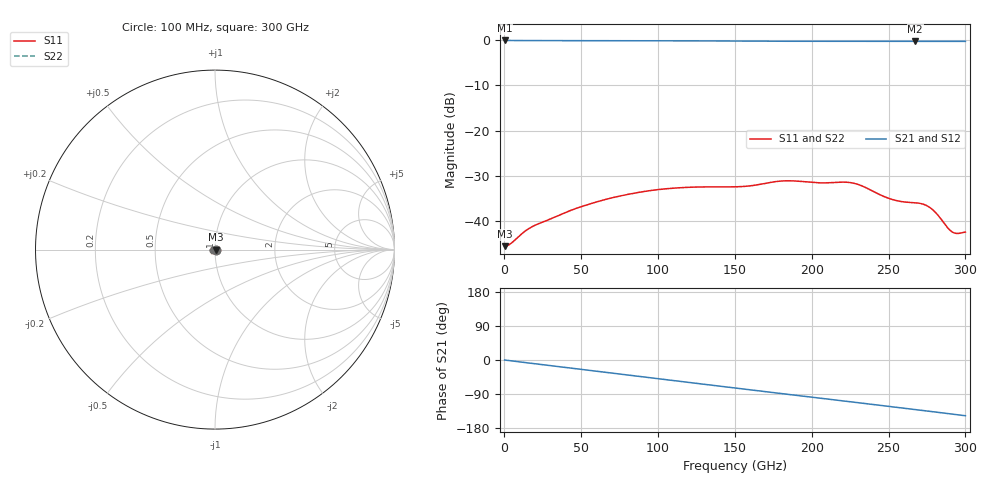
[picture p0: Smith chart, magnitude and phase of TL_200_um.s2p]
#  Hz  S  RI  R  50
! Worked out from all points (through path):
!   3000 points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, 100 MHz to 300 GHz, reference 50 ohm
!   highest |S21| = -0.04 dB at 100 MHz (marker M1); lowest = -0.2 dB at 267.3 GHz (marker M2)
!   group delay of S21, straight-line fit = 1.36 ps
!   lowest |S11| = -45.6 dB at 100 MHz (marker M3), VSWR 1.01, Z = 50.5 + j0.000362 ohm
!   |S11| at or under -10 dB: start of sweep to end of sweep
!   |S22| runs from -45.5 to -31.1 dB; largest |S21 - S12| = 0.00022
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1e8  0.00527 3.58e-06  0.9949 -0.000897  0.9949 -0.000896  0.00531 2.44e-06
4.1e9  0.00563 4.73e-05  0.9938 -0.0366  0.9937 -0.0366  0.00565 1.05e-05
1.27e10  0.00739 -0.00164  0.9859 -0.1105  0.986 -0.1105  0.00735 -0.00163
1.85e10  0.00786 -0.00384  0.9787 -0.159  0.9787 -0.159  0.00787 -0.00381
5.01e10  0.00413 -0.0138  0.8985 -0.4144  0.8985 -0.4144  0.00414 -0.0139
7.35e10  -0.00182 -0.0186  0.7969 -0.5844  0.7969 -0.5844  -0.00182 -0.0186
1.001e11  -0.00954 -0.0201  0.6431 -0.7483  0.6431 -0.7484  -0.00955 -0.0202
1.257e11  -0.0154 -0.0182  0.4632 -0.8691  0.4631 -0.8692  -0.0154 -0.0182
1.501e11  -0.0179 -0.0158  0.2705 -0.9432  0.2705 -0.9432  -0.0179 -0.0158
1.811e11  -0.0239 -0.0142  0.0175 -0.9747  0.0175 -0.9747  -0.0238 -0.0142
2.001e11  -0.0252 -0.00912  -0.1387 -0.9644  -0.1388 -0.9644  -0.0252 -0.00911
2.269e11  -0.0262 -0.00188  -0.3496 -0.9085  -0.3496 -0.9085  -0.0262 -0.00188
2.501e11  -0.0178 0.00152  -0.5245 -0.8214  -0.5245 -0.8214  -0.0178 0.00152
2.58e11  -0.0164 0.000728  -0.578 -0.7827  -0.5781 -0.7828  -0.0165 0.000708
2.673e11  -0.0159 0.000721  -0.6362 -0.7344  -0.6362 -0.7344  -0.0159 0.000756
2.732e11  -0.0151 0.0018  -0.672 -0.7028  -0.6719 -0.7027  -0.0151 0.00179
2.78e11  -0.0134 0.00269  -0.701 -0.6755  -0.7009 -0.6756  -0.0134 0.00265
2.821e11  -0.0113 0.00274  -0.7251 -0.6505  -0.7252 -0.6506  -0.0113 0.00272
2.889e11  -0.00822 0.000887  -0.7628 -0.6061  -0.7629 -0.606  -0.00822 0.000947
2.919e11  -0.00748 -0.00033  -0.7782 -0.5856  -0.7781 -0.5855  -0.00744 -0.000281
2.95e11  -0.00714 -0.0015  -0.7933 -0.564  -0.7932 -0.564  -0.00707 -0.0015
3e11  -0.007 -0.00286  -0.8161 -0.5284  -0.816 -0.5286  -0.00698 -0.00294
